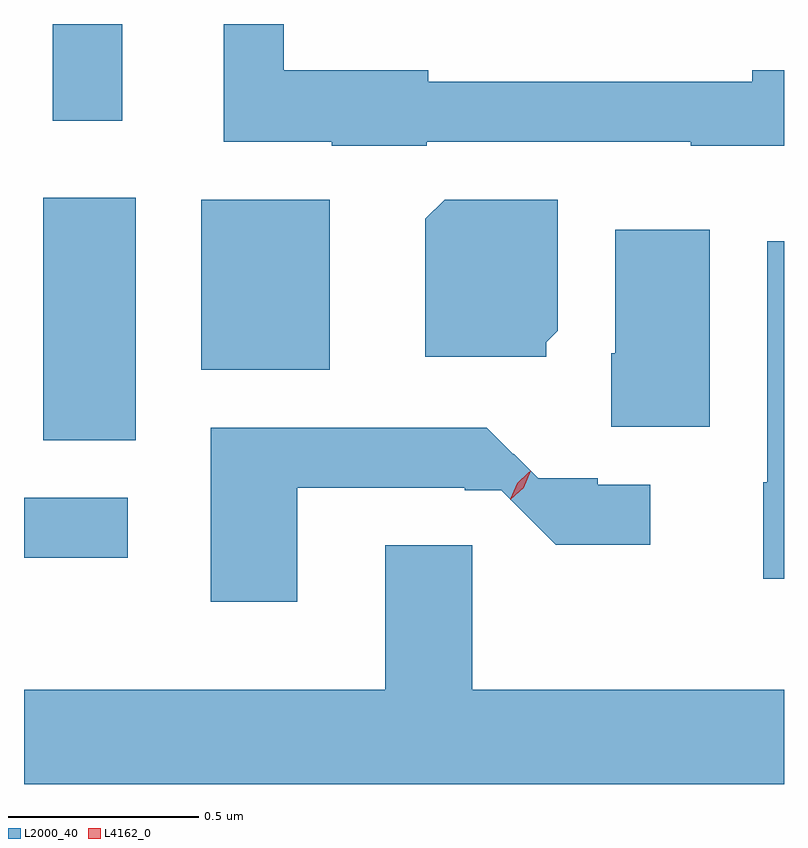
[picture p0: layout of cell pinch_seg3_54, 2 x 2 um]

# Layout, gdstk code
import gdstk
lib = gdstk.Library(unit=1e-6, precision=1e-09)
def R(c, l, rs):  # rectangles x0, y0, x1, y1
    for r in rs: c.add(gdstk.rectangle(r[:2], r[2:], *l))
def P(c, l, *ps):  # polygons
    for p in ps: c.add(gdstk.Polygon(p, *l))
L2000_40 = (2000, 40)
L4162_0 = (4162, 0)

pinch_seg3_54 = lib.new_cell('pinch_seg3_54')
R(pinch_seg3_54, L2000_40, [(1108.75,1128.851,1109.023,1129.009), (1108.801,1129.161,1109.044,1129.799), (1109.216,1129.346,1109.554,1129.794), (1108.826,1130.001,1109.009,1130.256)])
P(pinch_seg3_54, L2000_40, [(1109.81,1129.946),(1110.505,1129.946),(1110.505,1129.936),(1110.75,1129.936),(1110.75,1130.134),(1110.666,1130.134),(1110.666,1130.104),(1109.814,1130.104),(1109.814,1130.134),(1109.434,1130.134),(1109.434,1130.256),(1109.276,1130.256),(1109.276,1129.946),(1109.56,1129.946),(1109.56,1129.936),(1109.81,1129.936)],
  [(1110.124,1129.419),(1110.154,1129.449),(1110.154,1129.794),(1109.857,1129.794),(1109.806,1129.744),(1109.806,1129.381),(1110.124,1129.381)],
  [(1110.554,1129.714),(1110.306,1129.714),(1110.306,1129.39),(1110.296,1129.39),(1110.296,1129.196),(1110.554,1129.196)],
  [(1110.75,1129.684),(1110.706,1129.684),(1110.706,1129.05),(1110.696,1129.05),(1110.696,1128.796),(1110.75,1128.796)],
  [(1109.469,1129.036),(1109.91,1129.036),(1109.91,1129.029),(1110.006,1129.029),(1110.149,1128.886),(1110.398,1128.886),(1110.398,1129.044),(1110.26,1129.044),(1110.26,1129.06),(1110.103,1129.06),(1110.039,1129.125),(1110.038,1129.124),(1109.968,1129.194),(1109.241,1129.194),(1109.241,1128.736),(1109.469,1128.736)],
  [(1110.75,1128.504),(1109.929,1128.504),(1109.929,1128.884),(1109.701,1128.884),(1109.701,1128.504),(1108.75,1128.504),(1108.75,1128.256),(1110.75,1128.256)])
P(pinch_seg3_54, L4162_0, [(1110.03,1129.004),(1110.03,1129.005),(1110.048,1129.048),(1110.083,1129.08),(1110.083,1129.08),(1110.083,1129.08),(1110.065,1129.036),(1110.03,1129.004)],
  [(1110.033,1129.009),(1110.033,1129.01),(1110.048,1129.048),(1110.078,1129.076),(1110.079,1129.076),(1110.079,1129.075),(1110.064,1129.037),(1110.034,1129.009)])

lib.write_gds('pinch_seg3_54.gds')
